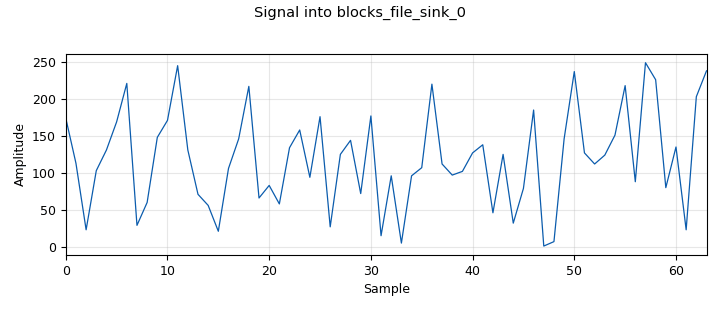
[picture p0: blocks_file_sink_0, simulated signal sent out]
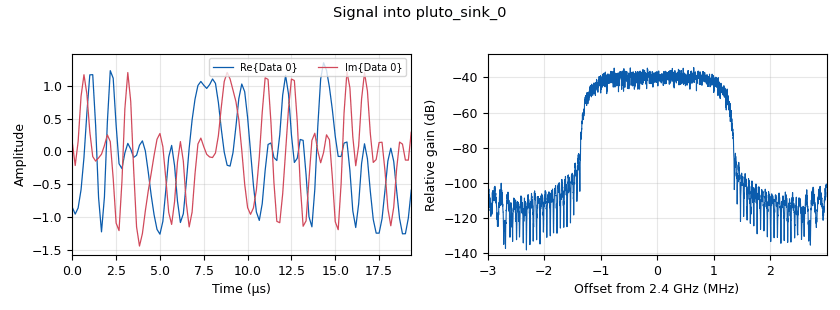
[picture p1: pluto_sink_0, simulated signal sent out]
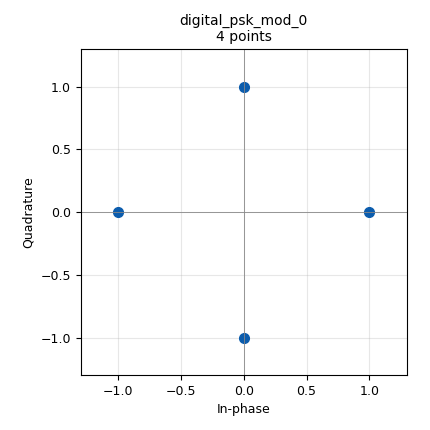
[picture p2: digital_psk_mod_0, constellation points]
<?xml version='1.0' encoding='utf-8'?>
<?grc format='1' created='3.7.11'?>
<flow_graph>
<block>
<key>options</key>
<param><key>id</key><value>transmitQPSK</value></param>
<param><key>generate_options</key><value>no_gui</value></param>
<param><key>run_options</key><value>run</value></param>
</block>
<block>
<key>variable</key>
<param><key>id</key><value>freq</value></param>
<param><key>value</key><value>2e6</value></param>
</block>
<block>
<key>variable</key>
<param><key>id</key><value>samp_rate</value></param>
<param><key>value</key><value>6e6</value></param>
</block>
<block>
<key>analog_random_source_x</key>
<param><key>id</key><value>analog_random_source_x_0</value></param>
<param><key>max</key><value>256</value></param>
<param><key>min</key><value>0</value></param>
<param><key>num_samps</key><value>2500000</value></param>
<param><key>type</key><value>byte</value></param>
<param><key>repeat</key><value>False</value></param>
</block>
<block>
<key>blocks_file_sink</key>
<param><key>id</key><value>blocks_file_sink_0</value></param>
<param><key>file</key><value>ARGUS/SDRSDRTest/transmitted.bin</value></param>
<param><key>type</key><value>byte</value></param>
</block>
<block>
<key>digital_psk_mod</key>
<param><key>id</key><value>digital_psk_mod_0</value></param>
<param><key>differential</key><value>True</value></param>
<param><key>excess_bw</key><value>0.35</value></param>
<param><key>mod_code</key><value>"none"</value></param>
<param><key>constellation_points</key><value>4</value></param>
<param><key>samples_per_symbol</key><value>3</value></param>
</block>
<block>
<key>pluto_sink</key>
<param><key>id</key><value>pluto_sink_0</value></param>
<param><key>attenuation</key><value>10.0</value></param>
<param><key>buffer_size</key><value>0x8000</value></param>
<param><key>cyclic</key><value>False</value></param>
<param><key>auto_filter</key><value>True</value></param>
<param><key>filter</key><value></value></param>
<param><key>uri</key><value>ip:pluto.local</value></param>
<param><key>frequency</key><value>2400000000</value></param>
<param><key>bandwidth</key><value>freq</value></param>
<param><key>samplerate</key><value>samp_rate</value></param>
</block>
<connection><source_block_id>analog_random_source_x_0</source_block_id><sink_block_id>blocks_file_sink_0</sink_block_id><source_key>0</source_key><sink_key>0</sink_key></connection>
<connection><source_block_id>analog_random_source_x_0</source_block_id><sink_block_id>digital_psk_mod_0</sink_block_id><source_key>0</source_key><sink_key>0</sink_key></connection>
<connection><source_block_id>digital_psk_mod_0</source_block_id><sink_block_id>pluto_sink_0</sink_block_id><source_key>0</source_key><sink_key>0</sink_key></connection>
</flow_graph>
